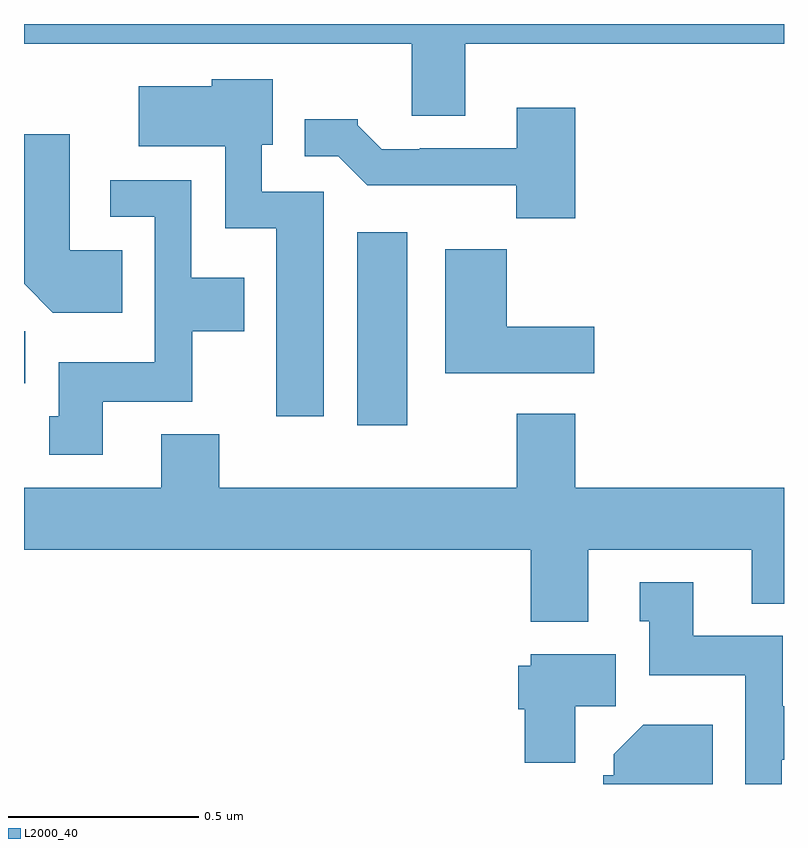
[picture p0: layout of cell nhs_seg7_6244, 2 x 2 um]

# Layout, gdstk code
import gdstk
lib = gdstk.Library(unit=1e-6, precision=1e-09)
def R(c, l, rs):  # rectangles x0, y0, x1, y1
    for r in rs: c.add(gdstk.rectangle(r[:2], r[2:], *l))
def P(c, l, *ps):  # polygons
    for p in ps: c.add(gdstk.Polygon(p, *l))
L2000_40 = (2000, 40)

nhs_seg7_6244 = lib.new_cell('nhs_seg7_6244')
R(nhs_seg7_6244, L2000_40, [(196.877,1000.944,197.008,1001.452), (196,1001.054,196.003,1001.192)])
P(nhs_seg7_6244, L2000_40, [(197.161,1001.948),(198,1001.948),(198,1002),(196,1002),(196,1001.948),(197.021,1001.948),(197.021,1001.758),(197.161,1001.758)],
  [(196.789,1001.559),(196.626,1001.559),(196.626,1001.682),(196.654,1001.682),(196.654,1001.854),(196.494,1001.854),(196.494,1001.836),(196.302,1001.836),(196.302,1001.678),(196.53,1001.678),(196.53,1001.462),(196.664,1001.462),(196.664,1000.968),(196.789,1000.968)],
  [(197.45,1001.779),(197.297,1001.779),(197.297,1001.673),(197.041,1001.673),(197.041,1001.67),(196.942,1001.67),(196.878,1001.734),(196.878,1001.749),(196.739,1001.749),(196.739,1001.652),(196.827,1001.652),(196.903,1001.576),(197.295,1001.576),(197.295,1001.489),(197.45,1001.489)],
  [(196.259,1001.404),(196.12,1001.404),(196.12,1001.71),(196,1001.71),(196,1001.316),(196.076,1001.24),(196.259,1001.24)],
  [(196.207,1001.006),(196.443,1001.006),(196.443,1001.192),(196.579,1001.192),(196.579,1001.332),(196.44,1001.332),(196.44,1001.589),(196.227,1001.589),(196.227,1001.493),(196.344,1001.493),(196.344,1001.11),(196.091,1001.11),(196.091,1000.968),(196.067,1000.968),(196.067,1000.866),(196.207,1000.866)],
  [(197.5,1001.203),(197.27,1001.203),(197.27,1001.407),(197.108,1001.407),(197.108,1001.081),(197.5,1001.081)],
  [(197.45,1000.975),(197.297,1000.975),(197.297,1000.78),(196.514,1000.78),(196.514,1000.921),(196.361,1000.921),(196.361,1000.78),(196,1000.78),(196,1000.616),(197.333,1000.616),(197.333,1000.427),(197.485,1000.427),(197.485,1000.616),(197.915,1000.616),(197.915,1000.475),(198,1000.475),(198,1000.78),(197.45,1000.78)],
  [(197.994,1000.064),(198,1000.064),(198,1000.204),(197.997,1000.204),(197.997,1000.39),(197.761,1000.39),(197.761,1000.531),(197.621,1000.531),(197.621,1000.428),(197.645,1000.428),(197.645,1000.286),(197.898,1000.286),(197.898,1000),(197.994,1000)],
  [(197.45,1000.204),(197.557,1000.204),(197.557,1000.342),(197.334,1000.342),(197.334,1000.311),(197.3,1000.311),(197.3,1000.197),(197.318,1000.197),(197.318,1000.056),(197.45,1000.056)],
  [(197.813,1000.156),(197.63,1000.156),(197.552,1000.078),(197.552,1000.023),(197.524,1000.023),(197.524,1000),(197.813,1000)])

lib.write_gds('nhs_seg7_6244.gds')
